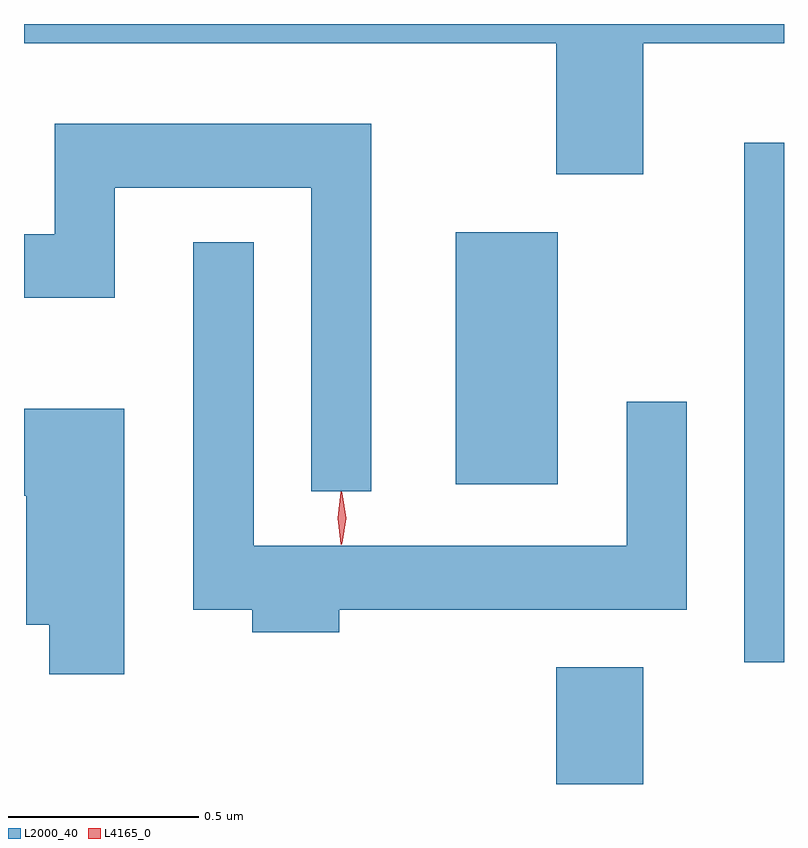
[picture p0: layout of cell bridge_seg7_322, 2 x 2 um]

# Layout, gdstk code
import gdstk
lib = gdstk.Library(unit=1e-6, precision=1e-09)
def R(c, l, rs):  # rectangles x0, y0, x1, y1
    for r in rs: c.add(gdstk.rectangle(r[:2], r[2:], *l))
def P(c, l, *ps):  # polygons
    for p in ps: c.add(gdstk.Polygon(p, *l))
L2000_40 = (2000, 40)
L4165_0 = (4165, 0)

bridge_seg7_322 = lib.new_cell('bridge_seg7_322')
R(bridge_seg7_322, L2000_40, [(1154.951,1765.647,1155.179,1765.954), (1155.446,1765.968,1155.55,1767.334), (1154.686,1766.436,1154.954,1767.099)])
P(bridge_seg7_322, L2000_40, [(1155.179,1767.596),(1155.55,1767.596),(1155.55,1767.647),(1153.55,1767.647),(1153.55,1767.596),(1154.951,1767.596),(1154.951,1767.251),(1155.179,1767.251)],
  [(1154.464,1767.384),(1153.631,1767.384),(1153.631,1767.094),(1153.55,1767.094),(1153.55,1766.926),(1153.789,1766.926),(1153.789,1767.216),(1154.306,1767.216),(1154.306,1766.418),(1154.464,1766.418)],
  [(1154.379,1766.106),(1155.294,1766.106),(1155.294,1766.653),(1155.136,1766.653),(1155.136,1766.274),(1154.154,1766.274),(1154.154,1767.073),(1153.996,1767.073),(1153.996,1766.106),(1154.151,1766.106),(1154.151,1766.046),(1154.379,1766.046)],
  [(1153.814,1766.634),(1153.55,1766.634),(1153.55,1766.406),(1153.556,1766.406),(1153.556,1766.066),(1153.616,1766.066),(1153.616,1765.936),(1153.814,1765.936)])
P(bridge_seg7_322, L4165_0, [(1154.387,1766.28),(1154.378,1766.346),(1154.387,1766.412),(1154.388,1766.413),(1154.388,1766.412),(1154.398,1766.346),(1154.388,1766.28),(1154.388,1766.28)],
  [(1154.385,1766.277),(1154.384,1766.278),(1154.375,1766.347),(1154.384,1766.416),(1154.385,1766.416),(1154.386,1766.416),(1154.395,1766.347),(1154.386,1766.278)])

lib.write_gds('bridge_seg7_322.gds')
